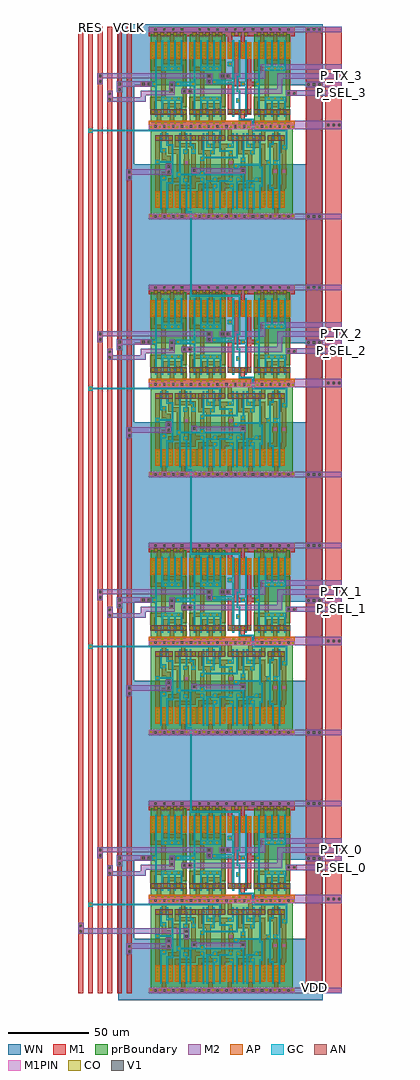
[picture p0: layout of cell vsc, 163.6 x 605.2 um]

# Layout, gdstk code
import gdstk
lib = gdstk.Library(unit=1e-6, precision=1e-07)
def R(c, l, rs):  # rectangles x0, y0, x1, y1
    for r in rs: c.add(gdstk.rectangle(r[:2], r[2:], *l))
def A(c, l, x, y, w, h, nx, ny, dx, dy):  # array of equal rectangles
    R(c, l, [(x+i*dx, y+j*dy, x+i*dx+w, y+j*dy+h) for i in range(nx) for j in range(ny)])
def P(c, l, *ps):  # polygons
    for p in ps: c.add(gdstk.Polygon(p, *l))
AP = (3, 1)
AN = (3, 2)
GC = (8, 1)
CO = (11, 0)
M1 = (13, 0)
V1 = (19, 0)
M2 = (20, 0)
M1PIN = (48, 1)
WN = (140, 0)
prBoundary = (235, 0)

dffr = lib.new_cell('DFFR')
A(dffr, AP, -1.3, -1.3, 2.6, 2.6, 17, 1, 5.5, 0)
R(dffr, AP, [(2.8,39.7,13.4,49.9), (2.8,39.7,13.4,49.9), (14.8,39.7,27.8,49.9), (14.8,39.7,27.8,49.9), (29.2,39.7,46.2,49.9), (29.2,39.7,46.2,49.9), (47.6,39.7,71,49.9), (47.6,39.7,71,49.9), (72.4,39.7,83,49.9), (72.4,39.7,83,49.9)])
A(dffr, AN, -1.3, 53.7, 2.6, 2.6, 17, 1, 5.5, 0)
R(dffr, AN, [(2.8,5.1,13.4,8.5), (14.8,5.1,27.8,8.5), (29.2,5.1,46.2,8.5), (47.6,5.1,71,8.5), (72.4,5.1,83,8.5)])
P(dffr, GC, [(34.4,3.9),(34.4,12.9),(37,12.9),(37,10.3),(35.4,10.3),(35.4,3.9)],
  [(50.4,3.9),(50.4,10.3),(47.6,10.3),(47.6,12.9),(51.4,12.9),(51.4,3.9)],
  [(59.2,3.9),(59.2,12.9),(61.8,12.9),(61.8,10.3),(60.2,10.3),(60.2,3.9)],
  [(5.6,3.9),(5.6,15.7),(9.4,15.7),(9.4,13.1),(6.6,13.1),(6.6,3.9)],
  [(21.6,3.9),(21.6,13.9),(20,13.9),(20,16.5),(22.6,16.5),(22.6,3.9)],
  [(24,3.9),(24,11.7),(25.9,11.7),(25.9,13.9),(25.1,13.9),(25.1,16.5),(27.7,16.5),(27.7,13.9),(26.9,13.9),(26.9,10.7),(25,10.7),(25,3.9)],
  [(38.4,3.9),(38.4,14.3),(36.8,14.3),(36.8,16.9),(39.4,16.9),(39.4,3.9)],
  [(42.4,3.9),(42.4,15.3),(48.2,15.3),(48.2,16.9),(50.8,16.9),(50.8,14.3),(43.4,14.3),(43.4,3.9)],
  [(63.2,3.9),(63.2,14.3),(61.6,14.3),(61.6,16.9),(64.2,16.9),(64.2,3.9)],
  [(32,3.9),(32,18.3),(30.4,18.3),(30.4,20.9),(33,20.9),(33,19.3),(53.8,19.3),(53.8,3.9),(52.8,3.9),(52.8,18.3),(33,18.3),(33,3.9)],
  [(56.8,3.9),(56.8,18.9),(55.8,18.9),(55.8,21.5),(58.4,21.5),(58.4,18.9),(57.8,18.9),(57.8,3.9)],
  [(5.6,30.3),(5.6,51.1),(6.6,51.1),(6.6,32.9),(9.4,32.9),(9.4,30.3)],
  [(9.6,3.9),(9.6,11.7),(12.9,11.7),(12.9,21.2),(5.4,21.2),(5.4,20.4),(2.8,20.4),(2.8,23),(5.4,23),(5.4,22.2),(12.9,22.2),(12.9,34.3),(9.6,34.3),(9.6,51.1),(10.6,51.1),(10.6,35.3),(13.9,35.3),(13.9,10.7),(10.6,10.7),(10.6,3.9)],
  [(20,31.7),(20,34.3),(21.6,34.3),(21.6,51.1),(22.6,51.1),(22.6,31.7)],
  [(30.4,31.3),(30.4,33.9),(32,33.9),(32,51.1),(33,51.1),(33,31.3)],
  [(38.4,31.3),(38.4,32.9),(34.4,32.9),(34.4,51.1),(35.4,51.1),(35.4,33.9),(41,33.9),(41,31.3)],
  [(38.4,35.3),(38.4,51.1),(39.4,51.1),(39.4,37.9),(41,37.9),(41,35.3)],
  [(48.2,31.3),(48.2,32.9),(42.4,32.9),(42.4,51.1),(43.4,51.1),(43.4,33.9),(50.8,33.9),(50.8,31.3)],
  [(48.8,35.3),(48.8,37.9),(50.4,37.9),(50.4,51.1),(51.4,51.1),(51.4,35.3)],
  [(52.8,31.3),(52.8,51.1),(53.8,51.1),(53.8,33.9),(55.4,33.9),(55.4,31.3)],
  [(17.6,3.9),(17.6,28.1),(16,28.1),(16,30.7),(17.6,30.7),(17.6,51.1),(18.6,51.1),(18.6,29.9),(24,29.9),(24,51.1),(25,51.1),(25,29.9),(56.8,29.9),(56.8,51.1),(57.8,51.1),(57.8,28.9),(33,28.9),(33,27.3),(30.4,27.3),(30.4,28.9),(18.6,28.9),(18.6,3.9)],
  [(64.2,31.3),(64.2,32.9),(59.2,32.9),(59.2,51.1),(60.2,51.1),(60.2,33.9),(66.8,33.9),(66.8,31.3)],
  [(61.6,35.3),(61.6,37.9),(63.2,37.9),(63.2,51.1),(64.2,51.1),(64.2,35.3)],
  [(67.2,3.9),(67.2,22.9),(51.4,22.9),(51.4,25.5),(54,25.5),(54,23.9),(67.2,23.9),(67.2,25.7),(68.4,25.7),(68.4,35.9),(67.2,35.9),(67.2,51.1),(68.2,51.1),(68.2,36.9),(69.4,36.9),(69.4,24.7),(68.2,24.7),(68.2,3.9)],
  [(75.2,3.9),(75.2,9.9),(73.3,9.9),(73.3,20.7),(71.7,20.7),(71.7,23.3),(73.3,23.3),(73.3,38.3),(75.2,38.3),(75.2,51.1),(76.2,51.1),(76.2,37.3),(74.3,37.3),(74.3,10.9),(76.2,10.9),(76.2,3.9)],
  [(79.2,3.9),(79.2,20.7),(75.7,20.7),(75.7,23.3),(79.2,23.3),(79.2,51.1),(80.2,51.1),(80.2,3.9)])
A(dffr, CO, -0.5, -0.5, 1, 1, 17, 2, 5.5, 55)
A(dffr, CO, 7.6, 6.3, 1, 1, 4, 2, 4, 35)
A(dffr, CO, 40.4, 6.3, 1, 1, 3, 1, 4, 0)
A(dffr, CO, 65.2, 6.3, 1, 1, 4, 1, 4, 0)
A(dffr, CO, 3.6, 41.3, 1, 1, 1, 4, 0, 2)
A(dffr, CO, 7.6, 41.3, 1, 1, 1, 4, 0, 2)
A(dffr, CO, 19.6, 41.3, 1, 1, 1, 4, 0, 2)
A(dffr, CO, 26, 41.3, 1, 1, 1, 4, 0, 2)
A(dffr, CO, 30, 41.3, 1, 1, 1, 4, 0, 2)
A(dffr, CO, 44.4, 41.3, 1, 1, 1, 4, 0, 2)
A(dffr, CO, 48.4, 41.3, 1, 1, 1, 4, 0, 2)
A(dffr, CO, 69.2, 41.3, 1, 1, 3, 4, 4, 2)
A(dffr, CO, 77.2, 41.3, 1, 1, 1, 4, 0, 2)
A(dffr, CO, 81.2, 41.3, 1, 1, 1, 4, 0, 2)
A(dffr, CO, 7.6, 43.3, 1, 1, 4, 3, 4, 2)
R(dffr, CO, [(3.6,6.3,4.6,7.3), (7.6,6.3,8.6,7.3), (19.6,6.3,20.6,7.3), (26,6.3,27,7.3), (30,6.3,31,7.3), (36.4,6.3,37.4,7.3), (36.4,6.3,37.4,7.3), (40.4,6.3,41.4,7.3), (54.8,6.3,55.8,7.3), (54.8,6.3,55.8,7.3), (61.2,6.3,62.2,7.3), (61.2,6.3,62.2,7.3), (65.2,6.3,66.2,7.3), (77.2,6.3,78.2,7.3), (81.2,6.3,82.2,7.3), (35.2,11.1,36.2,12.1), (48.4,11.1,49.4,12.1), (60,11.1,61,12.1), (7.6,13.9,8.6,14.9), (20.8,14.7,21.8,15.7), (25.9,14.7,26.9,15.7), (37.6,15.1,38.6,16.1), (49,15.1,50,16.1), (62.4,15.1,63.4,16.1), (31.2,19.1,32.2,20.1), (56.6,19.7,57.6,20.7), (3.6,21.2,4.6,22.2), (72.5,21.5,73.5,22.5), (76.5,21.5,77.5,22.5), (52.2,23.7,53.2,24.7), (31.2,28.1,32.2,29.1), (16.8,28.9,17.8,29.9), (7.6,31.1,8.6,32.1), (31.2,32.1,32.2,33.1), (39.2,32.1,40.2,33.1), (49,32.1,50,33.1), (53.6,32.1,54.6,33.1), (65,32.1,66,33.1), (20.8,32.5,21.8,33.5), (39.2,36.1,40.2,37.1), (49.6,36.1,50.6,37.1), (62.4,36.1,63.4,37.1), (36.4,41.3,37.4,42.3), (36.4,41.3,37.4,42.3), (54.8,41.3,55.8,42.3), (54.8,41.3,55.8,42.3), (61.2,41.3,62.2,42.3), (61.2,41.3,62.2,42.3), (36.4,43.3,37.4,44.3), (36.4,43.3,37.4,44.3), (54.8,43.3,55.8,44.3), (54.8,43.3,55.8,44.3), (61.2,43.3,62.2,44.3), (61.2,43.3,62.2,44.3), (36.4,45.3,37.4,46.3), (36.4,45.3,37.4,46.3), (54.8,45.3,55.8,46.3), (54.8,45.3,55.8,46.3), (61.2,45.3,62.2,46.3), (61.2,45.3,62.2,46.3), (36.4,47.3,37.4,48.3), (36.4,47.3,37.4,48.3), (54.8,47.3,55.8,48.3), (54.8,47.3,55.8,48.3), (61.2,47.3,62.2,48.3), (61.2,47.3,62.2,48.3)])
R(dffr, M1, [(2.8,5.1,5.4,49.9), (30.4,18.3,33,29.9)])
P(dffr, M1, [(6.8,13.1),(6.8,20.5),(9.7,20.5),(9.7,25.8),(9.3,25.8),(9.3,27.7),(6.8,27.7),(6.8,32.9),(9.4,32.9),(9.4,30.3),(12.3,30.3),(12.3,29.2),(12.7,29.2),(12.7,25.8),(12.3,25.8),(12.3,17.9),(9.4,17.9),(9.4,13.1)],
  [(10.8,5.1),(10.8,16.5),(16,16.5),(16,31.7),(10.8,31.7),(10.8,49.9),(13.4,49.9),(13.4,34.3),(18.6,34.3),(18.6,13.9),(13.4,13.9),(13.4,5.1)],
  [(39.6,5.1),(39.6,10.3),(34.4,10.3),(34.4,12.9),(43.6,12.9),(43.6,31.3),(38.4,31.3),(38.4,33.9),(43.6,33.9),(43.6,49.9),(46.2,49.9),(46.2,37.9),(51.4,37.9),(51.4,35.3),(46.2,35.3),(46.2,12.9),(50.2,12.9),(50.2,10.3),(42.2,10.3),(42.2,5.1)],
  [(64.4,5.1),(64.4,10.3),(59.2,10.3),(59.2,12.9),(68.4,12.9),(68.4,31.3),(64.2,31.3),(64.2,33.9),(68.4,33.9),(68.4,49.9),(71,49.9),(71,23.3),(74.3,23.3),(74.3,20.7),(71,20.7),(71,10.3),(67,10.3),(67,5.1)],
  [(80.4,5.1),(80.4,16.4),(81.2,16.4),(81.2,25.8),(80.8,25.8),(80.8,29.2),(81.2,29.2),(81.2,35.7),(80.4,35.7),(80.4,49.9),(83,49.9),(83,38.3),(83.8,38.3),(83.8,29.2),(84.2,29.2),(84.2,25.8),(83.8,25.8),(83.8,13.8),(83,13.8),(83,5.1)],
  [(25.2,5.1),(25.2,8.5),(29.2,8.5),(29.2,16.9),(34.4,16.9),(34.4,35.3),(29.2,35.3),(29.2,39.7),(25.2,39.7),(25.2,49.9),(31.8,49.9),(31.8,37.9),(41,37.9),(41,35.3),(37,35.3),(37,16.9),(39.4,16.9),(39.4,14.3),(31.8,14.3),(31.8,5.1)],
  [(-1.3,-1.3),(-1.3,1.3),(6.8,1.3),(6.8,8.5),(9.4,8.5),(9.4,1.3),(18.8,1.3),(18.8,8.5),(21.4,8.5),(21.4,1.3),(35.6,1.3),(35.6,8.5),(38.2,8.5),(38.2,1.3),(43.6,1.3),(43.6,8.5),(46.2,8.5),(46.2,1.3),(47.6,1.3),(47.6,8.5),(50.2,8.5),(50.2,1.3),(60.4,1.3),(60.4,8.5),(63,8.5),(63,1.3),(68.4,1.3),(68.4,8.5),(71,8.5),(71,1.3),(76.4,1.3),(76.4,8.5),(79,8.5),(79,1.3),(89.3,1.3),(89.3,-1.3)],
  [(48.2,14.3),(48.2,20.3),(47.8,20.3),(47.8,23.7),(48.2,23.7),(48.2,33.9),(50.8,33.9),(50.8,25.5),(54,25.5),(54,22.9),(51.2,22.9),(51.2,20.3),(50.8,20.3),(50.8,14.3)],
  [(55.8,18.9),(55.8,25.3),(55.4,25.3),(55.4,28.7),(55.8,28.7),(55.8,31.3),(52.8,31.3),(52.8,33.9),(58.4,33.9),(58.4,28.7),(58.8,28.7),(58.8,25.3),(58.4,25.3),(58.4,18.9)],
  [(20,13.9),(20,16.5),(20.7,16.5),(20.7,20.3),(20.3,20.3),(20.3,23.7),(20.7,23.7),(20.7,31.7),(20,31.7),(20,34.3),(23.3,34.3),(23.3,23.7),(23.7,23.7),(23.7,20.3),(23.3,20.3),(23.3,13.9)],
  [(14.8,5.1),(14.8,12.5),(25.1,12.5),(25.1,35.7),(14.8,35.7),(14.8,49.9),(17.4,49.9),(17.4,38.3),(27.7,38.3),(27.7,33.9),(33,33.9),(33,31.3),(27.7,31.3),(27.7,28.7),(28.5,28.7),(28.5,25.3),(27.7,25.3),(27.7,9.9),(17.4,9.9),(17.4,5.1)],
  [(54,5.1),(54,16.9),(60.2,16.9),(60.2,35.3),(54,35.3),(54,49.9),(56.6,49.9),(56.6,37.9),(64.2,37.9),(64.2,35.3),(62.8,35.3),(62.8,16.9),(64.2,16.9),(64.2,14.3),(56.6,14.3),(56.6,5.1)],
  [(72.4,5.1),(72.4,12.5),(75.7,12.5),(75.7,25.8),(75.3,25.8),(75.3,29.2),(75.7,29.2),(75.7,35.7),(72.4,35.7),(72.4,49.9),(75,49.9),(75,38.3),(78.3,38.3),(78.3,29.2),(78.7,29.2),(78.7,25.8),(78.3,25.8),(78.3,9.9),(75,9.9),(75,5.1)],
  [(6.8,39.7),(6.8,53.7),(-1.3,53.7),(-1.3,56.3),(89.3,56.3),(89.3,53.7),(79,53.7),(79,39.7),(76.4,39.7),(76.4,53.7),(63,53.7),(63,39.7),(60.4,39.7),(60.4,53.7),(50.2,53.7),(50.2,39.7),(47.6,39.7),(47.6,53.7),(38.2,53.7),(38.2,39.7),(35.6,39.7),(35.6,53.7),(21.4,53.7),(21.4,39.7),(18.8,39.7),(18.8,53.7),(9.4,53.7),(9.4,39.7)])
R(dffr, V1, [(26.1,26.3,27.5,27.7), (56.4,26.3,57.8,27.7)])
P(dffr, M2, [(25.1,25.3),(25.1,29.1),(58.8,29.1),(58.8,25.3),(55.4,25.3),(55.4,25.7),(28.5,25.7),(28.5,25.3)])
R(dffr, M1PIN, [(-1.3,-1.3,89.3,1.3), (21.1,21.1,22.9,22.9), (48.6,21.1,50.4,22.9), (10.1,26.6,11.9,28.4), (76.1,26.6,77.9,28.4), (81.6,26.6,83.4,28.4), (-1.3,53.7,89.3,56.3)])
R(dffr, WN, [(-6.3,23.2,94.3,61.3)])
R(dffr, prBoundary, [(0,0,88,55), (0,0,88,55)])
dffr.add(gdstk.Label('D', (22,22), layer=48, texttype=0))
dffr.add(gdstk.Label('RST', (49.5,22), layer=48, texttype=0))
dffr.add(gdstk.Label('QB', (77,27.5), layer=48, texttype=0))
dffr.add(gdstk.Label('Q', (82.5,27.5), layer=48, texttype=0))
dffr.add(gdstk.Label('gnd', (0,0), layer=48, texttype=0))
dffr.add(gdstk.Label('CK', (11,27.5), layer=48, texttype=0))
dffr.add(gdstk.Label('vdd', (0,55), layer=48, texttype=0))

fet_n_1 = lib.new_cell('fet_n$1')
R(fet_n_1, AN, [(-11.3,-1.7,11.3,1.7)])
A(fet_n_1, CO, -10.5, -0.5, 1, 1, 6, 1, 4, 0)
A(fet_n_1, M1, -11.3, -1.3, 2.6, 2.6, 6, 1, 4, 0)
fet_n_1.add(gdstk.FlexPath([(0,-2.9),(0,2.9)], 1, ends="flush", simple_path=True, layer=8, datatype=1))  # GC
fet_n_1.add(gdstk.FlexPath([(-4,-2.9),(-4,2.9)], 1, ends="flush", simple_path=True, layer=8, datatype=1))  # GC
fet_n_1.add(gdstk.FlexPath([(4,-2.9),(4,2.9)], 1, ends="flush", simple_path=True, layer=8, datatype=1))  # GC
fet_n_1.add(gdstk.FlexPath([(-8,-2.9),(-8,2.9)], 1, ends="flush", simple_path=True, layer=8, datatype=1))  # GC
fet_n_1.add(gdstk.FlexPath([(8,-2.9),(8,2.9)], 1, ends="flush", simple_path=True, layer=8, datatype=1))  # GC

fet_p = lib.new_cell('fet_p')
R(fet_p, AP, [(-11.3,-5.1,11.3,5.1)])
A(fet_p, CO, -10.5, -3.5, 1, 1, 6, 4, 4, 2)
A(fet_p, M1, -11.3, -4.3, 2.6, 8.6, 6, 1, 4, 0)
fet_p.add(gdstk.FlexPath([(0,-6.3),(0,6.3)], 1, ends="flush", simple_path=True, layer=8, datatype=1))  # GC
fet_p.add(gdstk.FlexPath([(-4,-6.3),(-4,6.3)], 1, ends="flush", simple_path=True, layer=8, datatype=1))  # GC
fet_p.add(gdstk.FlexPath([(4,-6.3),(4,6.3)], 1, ends="flush", simple_path=True, layer=8, datatype=1))  # GC
fet_p.add(gdstk.FlexPath([(-8,-6.3),(-8,6.3)], 1, ends="flush", simple_path=True, layer=8, datatype=1))  # GC
fet_p.add(gdstk.FlexPath([(8,-6.3),(8,6.3)], 1, ends="flush", simple_path=True, layer=8, datatype=1))  # GC

cont_g = lib.new_cell('cont_g')
R(cont_g, GC, [(-1.3,-1.3,1.3,1.3)])
R(cont_g, CO, [(-0.5,-0.5,0.5,0.5)])
R(cont_g, M1, [(-1.3,-1.3,1.3,1.3)])

cont_p = lib.new_cell('cont_p')
R(cont_p, AP, [(-1.3,-1.3,1.3,1.3)])
R(cont_p, CO, [(-0.5,-0.5,0.5,0.5)])
R(cont_p, M1, [(-1.3,-1.3,1.3,1.3)])

cont_n_1 = lib.new_cell('cont_n$1')
R(cont_n_1, AN, [(-1.3,-1.3,1.3,1.3)])
R(cont_n_1, CO, [(-0.5,-0.5,0.5,0.5)])
R(cont_n_1, M1, [(-1.3,-1.3,1.3,1.3)])

vsc_bufx1x4 = lib.new_cell('vsc_bufx1x4')
R(vsc_bufx1x4, GC, [(2.5,9.7,3.5,38.5)])
P(vsc_bufx1x4, GC, [(6.5,9.7),(6.5,16.3),(19.5,16.3),(19.5,9.7),(18.5,9.7),(18.5,13.7),(15.5,13.7),(15.5,9.7),(14.5,9.7),(14.5,13.7),(11.5,13.7),(11.5,9.7),(10.5,9.7),(10.5,13.7),(7.5,13.7),(7.5,9.7)],
  [(6.5,32.3),(6.5,38.5),(7.5,38.5),(7.5,34.9),(10.5,34.9),(10.5,38.5),(11.5,38.5),(11.5,34.9),(14.5,34.9),(14.5,38.5),(15.5,38.5),(15.5,34.9),(18.5,34.9),(18.5,38.5),(19.5,38.5),(19.5,32.3)])
A(vsc_bufx1x4, M1, 3.7, 1.3, 2.6, 4.2, 3, 1, 8, 0)
A(vsc_bufx1x4, M1, 3.7, 49.1, 2.6, 4.6, 3, 1, 8, 0)
R(vsc_bufx1x4, M1, [(-1.3,-1.3,23.3,1.3), (-1.3,53.7,23.3,56.3)])
P(vsc_bufx1x4, M1, [(7.7,8.1),(7.7,12.2),(19.7,12.2),(19.7,36.4),(7.7,36.4),(7.7,40.5),(10.3,40.5),(10.3,39),(15.7,39),(15.7,40.5),(18.3,40.5),(18.3,39),(22.3,39),(22.3,9.6),(18.3,9.6),(18.3,8.1),(15.7,8.1),(15.7,9.6),(10.3,9.6),(10.3,8.1)],
  [(-0.3,8.1),(-0.3,16.3),(6.5,16.3),(6.5,32.3),(-0.3,32.3),(-0.3,40.5),(2.3,40.5),(2.3,34.9),(18.3,34.9),(18.3,32.3),(9.1,32.3),(9.1,16.3),(18.3,16.3),(18.3,13.7),(2.3,13.7),(2.3,8.1)])
R(vsc_bufx1x4, WN, [(-7.5,23.2,29.3,61.3)])
R(vsc_bufx1x4, prBoundary, [(0,0,22,55)])
vsc_bufx1x4.add(gdstk.Reference(fet_n_1, (11,6.8)))
vsc_bufx1x4.add(gdstk.Reference(fet_p, (11,44.8)))
vsc_bufx1x4.add(gdstk.Reference(cont_g, (2.2,24.1)))
r = gdstk.Reference(cont_g, (9,33.6)); r.repetition = gdstk.Repetition(3, 1, v1=(4,0), v2=(0,0)); vsc_bufx1x4.add(r)
r = gdstk.Reference(cont_g, (9,15)); r.repetition = gdstk.Repetition(3, 1, v1=(4,0), v2=(0,0)); vsc_bufx1x4.add(r)
r = gdstk.Reference(cont_p, (3,0)); r.repetition = gdstk.Repetition(5, 1, v1=(4,0), v2=(0,0)); vsc_bufx1x4.add(r)
r = gdstk.Reference(cont_n_1, (3,55)); r.repetition = gdstk.Repetition(5, 1, v1=(4,0), v2=(0,0)); vsc_bufx1x4.add(r)
vsc_bufx1x4.add(gdstk.Label('IN', (2.2,24.1), layer=48, texttype=0))
vsc_bufx1x4.add(gdstk.Label('OUT', (21,24.1), layer=48, texttype=0))
vsc_bufx1x4.add(gdstk.Label('VSS', (0,0), layer=48, texttype=0))
vsc_bufx1x4.add(gdstk.Label('VDD', (0,55), layer=48, texttype=0))

cont_g_3 = lib.new_cell('cont_g$3')
R(cont_g_3, GC, [(-1.3,-1.3,1.3,1.3)])
R(cont_g_3, CO, [(-0.5,-0.5,0.5,0.5)])
R(cont_g_3, M1, [(-1.3,-1.3,1.3,1.3)])

fet_n_1_1 = lib.new_cell('fet_n$1$1')
R(fet_n_1_1, AN, [(-7.3,-1.7,7.3,1.7)])
A(fet_n_1_1, CO, -6.5, -0.5, 1, 1, 4, 1, 4, 0)
A(fet_n_1_1, M1, -7.3, -1.3, 2.6, 2.6, 4, 1, 4, 0)
fet_n_1_1.add(gdstk.FlexPath([(0,-2.9),(0,2.9)], 1, ends="flush", simple_path=True, layer=8, datatype=1))  # GC
fet_n_1_1.add(gdstk.FlexPath([(-4,-2.9),(-4,2.9)], 1, ends="flush", simple_path=True, layer=8, datatype=1))  # GC
fet_n_1_1.add(gdstk.FlexPath([(4,-2.9),(4,2.9)], 1, ends="flush", simple_path=True, layer=8, datatype=1))  # GC

fet_p_1 = lib.new_cell('fet_p$1')
R(fet_p_1, AP, [(-7.3,-5.1,7.3,5.1)])
A(fet_p_1, CO, -6.5, -3.5, 1, 1, 4, 4, 4, 2)
A(fet_p_1, M1, -7.3, -4.3, 2.6, 8.6, 4, 1, 4, 0)
fet_p_1.add(gdstk.FlexPath([(0,-6.3),(0,6.3)], 1, ends="flush", simple_path=True, layer=8, datatype=1))  # GC
fet_p_1.add(gdstk.FlexPath([(-4,-6.3),(-4,6.3)], 1, ends="flush", simple_path=True, layer=8, datatype=1))  # GC
fet_p_1.add(gdstk.FlexPath([(4,-6.3),(4,6.3)], 1, ends="flush", simple_path=True, layer=8, datatype=1))  # GC

cont_p_1 = lib.new_cell('cont_p$1')
R(cont_p_1, AP, [(-1.3,-1.3,1.3,1.3)])
R(cont_p_1, CO, [(-0.5,-0.5,0.5,0.5)])
R(cont_p_1, M1, [(-1.3,-1.3,1.3,1.3)])

cont_n_2 = lib.new_cell('cont_n$2')
R(cont_n_2, AN, [(-1.3,-1.3,1.3,1.3)])
R(cont_n_2, CO, [(-0.5,-0.5,0.5,0.5)])
R(cont_n_2, M1, [(-1.3,-1.3,1.3,1.3)])

vsc_and2 = lib.new_cell('vsc_and2')
P(vsc_and2, GC, [(4.5,9.7),(4.5,35.2),(4.3,35.2),(4.3,37.8),(4.5,37.8),(4.5,38.5),(5.5,38.5),(5.5,9.7)],
  [(8.5,9.7),(8.5,19.2),(7.1,19.2),(7.1,29.2),(8.5,29.2),(8.5,38.5),(9.5,38.5),(9.5,28.2),(8.1,28.2),(8.1,20.2),(9.5,20.2),(9.5,9.7)],
  [(12.5,9.7),(12.5,22.8),(12.3,22.8),(12.3,25.4),(12.5,25.4),(12.5,38.5),(13.5,38.5),(13.5,9.7)])
R(vsc_and2, M1, [(-1.3,-1.3,17.8,1.3), (9.7,1.3,12.3,5.5), (13.7,8.1,16.3,40.5), (1.7,49.1,4.3,53.7), (9.7,49.1,12.3,53.7), (-1.3,53.7,17.8,56.3)])
P(vsc_and2, M1, [(1.7,8.1),(1.7,25.4),(5.7,25.4),(5.7,40.5),(8.3,40.5),(8.3,25.4),(9.7,25.4),(9.7,22.8),(4.3,22.8),(4.3,8.1)])
R(vsc_and2, WN, [(-5.6,23.2,23.5,61.3)])
vsc_and2.add(gdstk.Reference(cont_g_3, (3,36.5)))
vsc_and2.add(gdstk.Reference(fet_n_1_1, (9,6.8)))
vsc_and2.add(gdstk.Reference(fet_p_1, (9,44.8)))
vsc_and2.add(gdstk.Reference(cont_g_3, (11,24.1)))
vsc_and2.add(gdstk.Reference(cont_g_3, (8.2,13.9)))
r = gdstk.Reference(cont_p_1, (5,0)); r.repetition = gdstk.Repetition(3, 1, v1=(4,0), v2=(0,0)); vsc_and2.add(r)
r = gdstk.Reference(cont_n_2, (5,55)); r.repetition = gdstk.Repetition(3, 1, v1=(4,0), v2=(0,0)); vsc_and2.add(r)
vsc_and2.add(gdstk.Label('B', (8.2,13.9), layer=48, texttype=0))
vsc_and2.add(gdstk.Label('A', (3,36.5), layer=48, texttype=0))
vsc_and2.add(gdstk.Label('Y', (15,24.1), layer=48, texttype=0))
vsc_and2.add(gdstk.Label('VSS', (0,0), layer=48, texttype=0))
vsc_and2.add(gdstk.Label('VDD', (0,55), layer=48, texttype=0))

cont_g_2 = lib.new_cell('cont_g$2')
R(cont_g_2, GC, [(-1.3,-1.3,1.3,1.3)])
R(cont_g_2, CO, [(-0.5,-0.5,0.5,0.5)])
R(cont_g_2, M1, [(-1.3,-1.3,1.3,1.3)])

via_1 = lib.new_cell('via_1')
R(via_1, M1, [(-1.7,-1.7,1.7,1.7)])
R(via_1, V1, [(-0.7,-0.7,0.7,0.7)])
R(via_1, M2, [(-1.7,-1.7,1.7,1.7)])

vsc = lib.new_cell('vsc')
A(vsc, AP, -119.7, -203.9, 63.1, 5.2, 1, 4, 0, 160)
A(vsc, AP, -53.7, -203.9, 24.6, 5.2, 1, 4, 0, 160)
A(vsc, GC, -100.4, -177.2, 6.9, 2.6, 1, 4, 0, 160)
A(vsc, GC, -77.6, -176, 9.7, 2.6, 1, 4, 0, 160)
P(vsc, GC, [(-34.9,-216.4),(-34.9,-205.3),(-55.7,-205.3),(-55.7,-198.3),(-63.9,-198.3),(-63.9,-196.1),(-62.9,-196.1),(-62.9,-197.3),(-54.7,-197.3),(-54.7,-204.3),(-33.9,-204.3),(-33.9,-216.4)],
  [(-34.9,-56.4),(-34.9,-45.3),(-55.7,-45.3),(-55.7,-38.3),(-63.9,-38.3),(-63.9,-36.1),(-62.9,-36.1),(-62.9,-37.3),(-54.7,-37.3),(-54.7,-44.3),(-33.9,-44.3),(-33.9,-56.4)],
  [(-34.9,103.6),(-34.9,114.7),(-55.7,114.7),(-55.7,121.7),(-63.9,121.7),(-63.9,123.9),(-62.9,123.9),(-62.9,122.7),(-54.7,122.7),(-54.7,115.7),(-33.9,115.7),(-33.9,103.6)],
  [(-34.9,263.6),(-34.9,274.7),(-55.7,274.7),(-55.7,281.7),(-63.9,281.7),(-63.9,283.9),(-62.9,283.9),(-62.9,282.7),(-54.7,282.7),(-54.7,275.7),(-33.9,275.7),(-33.9,263.6)],
  [(-63.9,-148.9),(-63.9,-147.7),(-94.2,-147.7),(-94.2,-95.9),(-96.8,-95.9),(-96.8,-93.7),(-95.8,-93.7),(-95.8,-94.9),(-93.2,-94.9),(-93.2,-146.7),(-62.9,-146.7),(-62.9,-148.9)],
  [(-63.9,11.1),(-63.9,12.3),(-94.2,12.3),(-94.2,64.1),(-96.8,64.1),(-96.8,66.3),(-95.8,66.3),(-95.8,65.1),(-93.2,65.1),(-93.2,13.3),(-62.9,13.3),(-62.9,11.1)],
  [(-63.9,171.1),(-63.9,172.3),(-94.2,172.3),(-94.2,224.1),(-96.8,224.1),(-96.8,226.3),(-95.8,226.3),(-95.8,225.1),(-93.2,225.1),(-93.2,173.3),(-62.9,173.3),(-62.9,171.1)],
  [(-76,-206.5),(-76,-205.3),(-157.2,-205.3),(-157.2,-204.3),(-75,-204.3),(-75,-206.5)],
  [(-76,-46.5),(-76,-45.3),(-157.2,-45.3),(-157.2,-44.3),(-75,-44.3),(-75,-46.5)],
  [(-76,113.5),(-76,114.7),(-157.2,114.7),(-157.2,115.7),(-75,115.7),(-75,113.5)],
  [(-76,273.5),(-76,274.7),(-157.2,274.7),(-157.2,275.7),(-75,275.7),(-75,273.5)])
A(vsc, M1, -163.4, -259.7, 3, 599.4, 6, 1, 6, 0)
A(vsc, M1, -119.7, -259.7, 90.6, 3.4, 1, 4, 0, 160)
A(vsc, M1, -119.7, -203.9, 90.6, 5.2, 1, 4, 0, 160)
A(vsc, M1, -117.9, -177.6, 3, 3.4, 1, 4, 0, 160)
A(vsc, M1, -103.8, -177.2, 0.8, 2.6, 1, 4, 0, 160)
A(vsc, M1, -56.1, -177.2, 2.6, 2.6, 1, 4, 0, 160)
A(vsc, M1, -80.5, -176, 0.3, 2.6, 1, 4, 0, 160)
A(vsc, M1, -119.7, -146.3, 90.6, 6, 1, 4, 0, 160)
R(vsc, M1, [(-22.4,-259.7,-12.2,339.7), (-10.2,-259.7,0,339.7), (-98.1,-219.5,-94.7,-216.5)])
A(vsc, M2, -130.2, -232.2, 21.1, 3.4, 1, 4, 0, 160)
A(vsc, M2, -119.7, -203.9, 119.7, 5.2, 1, 4, 0, 160)
A(vsc, M2, -27.9, -183.3, 27.9, 3.4, 1, 4, 0, 160)
A(vsc, M2, -12.2, -177.9, 12.2, 3.4, 1, 4, 0, 160)
A(vsc, M2, -136.2, -177.6, 11.5, 3.4, 1, 4, 0, 160)
A(vsc, M2, -148.2, -172.2, 67.2, 3, 1, 4, 0, 160)
R(vsc, M2, [(-119.7,-259.7,0,-256.3), (-163.4,-222.9,-98.1,-219.5), (-119.7,-143.7,0,-140.3), (-119.7,-99.7,0,-96.3), (-119.7,16.3,0,19.7), (-119.7,60.3,0,63.7), (-119.7,176.3,0,179.7), (-119.7,220.3,0,223.7), (-119.7,336.3,0,339.7)])
P(vsc, M2, [(-92.7,-182.1),(-92.7,-178.7),(-40,-178.7),(-40,-169.1),(0,-169.1),(0,-172.5),(-37,-172.5),(-37,-182.1)],
  [(-68.9,-172.6),(-68.9,-169.2),(-50.4,-169.2),(-50.4,-163.7),(0,-163.7),(0,-167.1),(-47.4,-167.1),(-47.4,-172.6)],
  [(-92.7,-22.1),(-92.7,-18.7),(-40,-18.7),(-40,-9.1),(0,-9.1),(0,-12.5),(-37,-12.5),(-37,-22.1)],
  [(-68.9,-12.6),(-68.9,-9.2),(-50.4,-9.2),(-50.4,-3.7),(0,-3.7),(0,-7.1),(-47.4,-7.1),(-47.4,-12.6)],
  [(-92.7,137.9),(-92.7,141.3),(-40,141.3),(-40,150.9),(0,150.9),(0,147.5),(-37,147.5),(-37,137.9)],
  [(-68.9,147.4),(-68.9,150.8),(-50.4,150.8),(-50.4,156.3),(0,156.3),(0,152.9),(-47.4,152.9),(-47.4,147.4)],
  [(-92.7,297.9),(-92.7,301.3),(-40,301.3),(-40,310.9),(0,310.9),(0,307.5),(-37,307.5),(-37,297.9)],
  [(-68.9,307.4),(-68.9,310.8),(-50.4,310.8),(-50.4,316.3),(0,316.3),(0,312.9),(-47.4,312.9),(-47.4,307.4)],
  [(-142.2,-187),(-142.2,-184),(-124.7,-184),(-124.7,-180),(-103.8,-180),(-103.8,-183),(-121.7,-183),(-121.7,-187)],
  [(-142.2,-27),(-142.2,-24),(-124.7,-24),(-124.7,-20),(-103.8,-20),(-103.8,-23),(-121.7,-23),(-121.7,-27)],
  [(-142.2,133),(-142.2,136),(-124.7,136),(-124.7,140),(-103.8,140),(-103.8,137),(-121.7,137),(-121.7,133)],
  [(-142.2,293),(-142.2,296),(-124.7,296),(-124.7,300),(-103.8,300),(-103.8,297),(-121.7,297),(-121.7,293)])
P(vsc, WN, [(-138.8,-263.9),(-138.8,21.3),(-125.9,21.3),(-125.9,-16.8),(-128.7,-16.8),(-128.7,-65.8),(-124.7,-65.8),(-124.7,-103.9),(-24.1,-103.9),(-24.1,-65.8),(-22.1,-65.8),(-22.1,-16.8),(-25.1,-16.8),(-25.1,21.3),(-138.8,21.3),(-138.8,181.3),(-125.9,181.3),(-125.9,143.2),(-128.7,143.2),(-128.7,94.2),(-124.7,94.2),(-124.7,56.1),(-24.1,56.1),(-24.1,94.2),(-22.1,94.2),(-22.1,143.2),(-25.1,143.2),(-25.1,181.3),(-138.8,181.3),(-138.8,341.3),(-125.9,341.3),(-125.9,303.2),(-128.7,303.2),(-128.7,254.2),(-124.7,254.2),(-124.7,216.1),(-24.1,216.1),(-24.1,254.2),(-22.1,254.2),(-22.1,303.2),(-25.1,303.2),(-25.1,341.3),(-12,341.3),(-12,-263.9),(-24.1,-263.9),(-24.1,-225.8),(-22.1,-225.8),(-22.1,-176.8),(-25.1,-176.8),(-25.1,-138.7),(-125.9,-138.7),(-125.9,-176.8),(-128.7,-176.8),(-128.7,-225.8),(-124.7,-225.8),(-124.7,-263.9)])
r = gdstk.Reference(dffr, (-118.4,277.4), x_reflection=True); r.repetition = gdstk.Repetition(1, 4, v1=(0,0), v2=(0,-160)); vsc.add(r)
r = gdstk.Reference(vsc_bufx1x4, (-118.4,-200)); r.repetition = gdstk.Repetition(2, 4, v1=(24,0), v2=(0,160)); vsc.add(r)
r = gdstk.Reference(vsc_and2, (-72.4,-200)); r.repetition = gdstk.Repetition(1, 4, v1=(0,0), v2=(0,160)); vsc.add(r)
r = gdstk.Reference(vsc_bufx1x4, (-54.4,-200)); r.repetition = gdstk.Repetition(1, 4, v1=(0,0), v2=(0,160)); vsc.add(r)
vsc.add(gdstk.Reference(cont_g_2, (-35.7,-215.1)))
r = gdstk.Reference(via_1, (-107.4,-230.5)); r.repetition = gdstk.Repetition(1, 2, v1=(0,0), v2=(0,3.4)); vsc.add(r)
r = gdstk.Reference(via_1, (-131.9,-233.9)); r.repetition = gdstk.Repetition(1, 2, v1=(0,0), v2=(0,3.4)); vsc.add(r)
r = gdstk.Reference(via_1, (-96.4,-224.6)); r.repetition = gdstk.Repetition(1, 2, v1=(0,0), v2=(0,3.4)); vsc.add(r)
r = gdstk.Reference(via_1, (-137.9,-179.3)); r.repetition = gdstk.Repetition(1, 2, v1=(0,0), v2=(0,3.4)); vsc.add(r)
r = gdstk.Reference(via_1, (-123,-175.9)); r.repetition = gdstk.Repetition(2, 1, v1=(3.4,0), v2=(0,0)); vsc.add(r)
vsc.add(gdstk.Reference(cont_g_2, (-101.7,-175.9)))
r = gdstk.Reference(via_1, (-143.9,-185.3)); r.repetition = gdstk.Repetition(1, 2, v1=(0,0), v2=(0,3.4)); vsc.add(r)
vsc.add(gdstk.Reference(cont_g_2, (-78.9,-174.7)))
r = gdstk.Reference(via_1, (-82.2,-174.3)); r.repetition = gdstk.Repetition(1, 2, v1=(0,0), v2=(0,3.4)); vsc.add(r)
r = gdstk.Reference(via_1, (-149.9,-174.3)); r.repetition = gdstk.Repetition(1, 2, v1=(0,0), v2=(0,3.4)); vsc.add(r)
r = gdstk.Reference(via_1, (-105.5,-179.7)); r.repetition = gdstk.Repetition(1, 2, v1=(0,0), v2=(0,3.4)); vsc.add(r)
r = gdstk.Reference(via_1, (-97.8,-180.4)); r.repetition = gdstk.Repetition(2, 1, v1=(3.4,0), v2=(0,0)); vsc.add(r)
r = gdstk.Reference(via_1, (-74,-170.9)); r.repetition = gdstk.Repetition(2, 1, v1=(3.4,0), v2=(0,0)); vsc.add(r)
r = gdstk.Reference(via_1, (-33,-181.6)); r.repetition = gdstk.Repetition(2, 1, v1=(3.4,0), v2=(0,0)); vsc.add(r)
vsc.add(gdstk.Reference(cont_g_2, (-35.7,-55.1)))
r = gdstk.Reference(via_1, (-107.4,-70.5)); r.repetition = gdstk.Repetition(1, 2, v1=(0,0), v2=(0,3.4)); vsc.add(r)
r = gdstk.Reference(via_1, (-131.9,-73.9)); r.repetition = gdstk.Repetition(1, 2, v1=(0,0), v2=(0,3.4)); vsc.add(r)
vsc.add(gdstk.Reference(cont_g_2, (-35.7,104.9)))
r = gdstk.Reference(via_1, (-137.9,-19.3)); r.repetition = gdstk.Repetition(1, 2, v1=(0,0), v2=(0,3.4)); vsc.add(r)
r = gdstk.Reference(via_1, (-123,-15.9)); r.repetition = gdstk.Repetition(2, 1, v1=(3.4,0), v2=(0,0)); vsc.add(r)
vsc.add(gdstk.Reference(cont_g_2, (-101.7,-15.9)))
r = gdstk.Reference(via_1, (-143.9,-25.3)); r.repetition = gdstk.Repetition(1, 2, v1=(0,0), v2=(0,3.4)); vsc.add(r)
vsc.add(gdstk.Reference(cont_g_2, (-78.9,-14.7)))
r = gdstk.Reference(via_1, (-82.2,-14.3)); r.repetition = gdstk.Repetition(1, 2, v1=(0,0), v2=(0,3.4)); vsc.add(r)
r = gdstk.Reference(via_1, (-149.9,-14.3)); r.repetition = gdstk.Repetition(1, 2, v1=(0,0), v2=(0,3.4)); vsc.add(r)
r = gdstk.Reference(via_1, (-105.5,-19.7)); r.repetition = gdstk.Repetition(1, 2, v1=(0,0), v2=(0,3.4)); vsc.add(r)
r = gdstk.Reference(via_1, (-97.8,-20.4)); r.repetition = gdstk.Repetition(2, 1, v1=(3.4,0), v2=(0,0)); vsc.add(r)
r = gdstk.Reference(via_1, (-74,-10.9)); r.repetition = gdstk.Repetition(2, 1, v1=(3.4,0), v2=(0,0)); vsc.add(r)
r = gdstk.Reference(via_1, (-33,-21.6)); r.repetition = gdstk.Repetition(2, 1, v1=(3.4,0), v2=(0,0)); vsc.add(r)
r = gdstk.Reference(via_1, (-107.4,89.5)); r.repetition = gdstk.Repetition(1, 2, v1=(0,0), v2=(0,3.4)); vsc.add(r)
r = gdstk.Reference(via_1, (-131.9,86.1)); r.repetition = gdstk.Repetition(1, 2, v1=(0,0), v2=(0,3.4)); vsc.add(r)
r = gdstk.Reference(via_1, (-137.9,140.7)); r.repetition = gdstk.Repetition(1, 2, v1=(0,0), v2=(0,3.4)); vsc.add(r)
r = gdstk.Reference(via_1, (-123,144.1)); r.repetition = gdstk.Repetition(2, 1, v1=(3.4,0), v2=(0,0)); vsc.add(r)
vsc.add(gdstk.Reference(cont_g_2, (-101.7,144.1)))
r = gdstk.Reference(via_1, (-143.9,134.7)); r.repetition = gdstk.Repetition(1, 2, v1=(0,0), v2=(0,3.4)); vsc.add(r)
vsc.add(gdstk.Reference(cont_g_2, (-78.9,145.3)))
r = gdstk.Reference(via_1, (-82.2,145.7)); r.repetition = gdstk.Repetition(1, 2, v1=(0,0), v2=(0,3.4)); vsc.add(r)
r = gdstk.Reference(via_1, (-149.9,145.7)); r.repetition = gdstk.Repetition(1, 2, v1=(0,0), v2=(0,3.4)); vsc.add(r)
r = gdstk.Reference(via_1, (-105.5,140.3)); r.repetition = gdstk.Repetition(1, 2, v1=(0,0), v2=(0,3.4)); vsc.add(r)
r = gdstk.Reference(via_1, (-97.8,139.6)); r.repetition = gdstk.Repetition(2, 1, v1=(3.4,0), v2=(0,0)); vsc.add(r)
r = gdstk.Reference(via_1, (-74,149.1)); r.repetition = gdstk.Repetition(2, 1, v1=(3.4,0), v2=(0,0)); vsc.add(r)
r = gdstk.Reference(via_1, (-33,138.4)); r.repetition = gdstk.Repetition(2, 1, v1=(3.4,0), v2=(0,0)); vsc.add(r)
vsc.add(gdstk.Reference(cont_g_2, (-35.7,264.9)))
r = gdstk.Reference(via_1, (-107.4,249.5)); r.repetition = gdstk.Repetition(1, 2, v1=(0,0), v2=(0,3.4)); vsc.add(r)
r = gdstk.Reference(via_1, (-131.9,246.1)); r.repetition = gdstk.Repetition(1, 2, v1=(0,0), v2=(0,3.4)); vsc.add(r)
r = gdstk.Reference(via_1, (-137.9,300.7)); r.repetition = gdstk.Repetition(1, 2, v1=(0,0), v2=(0,3.4)); vsc.add(r)
r = gdstk.Reference(via_1, (-123,304.1)); r.repetition = gdstk.Repetition(2, 1, v1=(3.4,0), v2=(0,0)); vsc.add(r)
vsc.add(gdstk.Reference(cont_g_2, (-101.7,304.1)))
r = gdstk.Reference(via_1, (-143.9,294.7)); r.repetition = gdstk.Repetition(1, 2, v1=(0,0), v2=(0,3.4)); vsc.add(r)
vsc.add(gdstk.Reference(cont_g_2, (-78.9,305.3)))
r = gdstk.Reference(via_1, (-82.2,305.7)); r.repetition = gdstk.Repetition(1, 2, v1=(0,0), v2=(0,3.4)); vsc.add(r)
r = gdstk.Reference(via_1, (-149.9,305.7)); r.repetition = gdstk.Repetition(1, 2, v1=(0,0), v2=(0,3.4)); vsc.add(r)
r = gdstk.Reference(via_1, (-105.5,300.3)); r.repetition = gdstk.Repetition(1, 2, v1=(0,0), v2=(0,3.4)); vsc.add(r)
r = gdstk.Reference(via_1, (-97.8,299.6)); r.repetition = gdstk.Repetition(2, 1, v1=(3.4,0), v2=(0,0)); vsc.add(r)
r = gdstk.Reference(via_1, (-74,309.1)); r.repetition = gdstk.Repetition(2, 1, v1=(3.4,0), v2=(0,0)); vsc.add(r)
r = gdstk.Reference(via_1, (-33,298.4)); r.repetition = gdstk.Repetition(2, 1, v1=(3.4,0), v2=(0,0)); vsc.add(r)
r = gdstk.Reference(via_1, (-115.6,-258)); r.repetition = gdstk.Repetition(4, 4, v1=(5.5,0), v2=(0,160)); vsc.add(r)
r = gdstk.Reference(via_1, (-20.7,-258)); r.repetition = gdstk.Repetition(3, 4, v1=(3.4,0), v2=(0,160)); vsc.add(r)
vsc.add(gdstk.Reference(cont_g_2, (-155.9,-204.8)))
r = gdstk.Reference(via_1, (-8.5,-201.3)); r.repetition = gdstk.Repetition(3, 4, v1=(3.4,0), v2=(0,160)); vsc.add(r)
r = gdstk.Reference(via_1, (-20.7,-142)); r.repetition = gdstk.Repetition(3, 4, v1=(3.4,0), v2=(0,160)); vsc.add(r)
r = gdstk.Reference(via_1, (-115.6,-202.2)); r.repetition = gdstk.Repetition(11, 4, v1=(5.5,0), v2=(0,160)); vsc.add(r)
r = gdstk.Reference(via_1, (-49.6,-202.2)); r.repetition = gdstk.Repetition(4, 4, v1=(5.5,0), v2=(0,160)); vsc.add(r)
r = gdstk.Reference(via_1, (-115.6,-142)); r.repetition = gdstk.Repetition(4, 4, v1=(5.5,0), v2=(0,160)); vsc.add(r)
r = gdstk.Reference(via_1, (-88.1,-142)); r.repetition = gdstk.Repetition(11, 4, v1=(5.5,0), v2=(0,160)); vsc.add(r)
r = gdstk.Reference(via_1, (-88.1,-258)); r.repetition = gdstk.Repetition(11, 4, v1=(5.5,0), v2=(0,160)); vsc.add(r)
vsc.add(gdstk.Reference(cont_g_2, (-155.9,-44.8)))
vsc.add(gdstk.Reference(cont_g_2, (-155.9,115.2)))
vsc.add(gdstk.Reference(cont_g_2, (-155.9,275.2)))
r = gdstk.Reference(via_1, (-20.7,-176.2)); r.repetition = gdstk.Repetition(3, 4, v1=(3.4,0), v2=(0,160)); vsc.add(r)
r = gdstk.Reference(via_1, (-161.9,-221.2)); r.repetition = gdstk.Repetition(1, 2, v1=(0,0), v2=(0,3.4)); vsc.add(r)
vsc.add(gdstk.Label('VCLK', (-131.9,339.3), layer=48, texttype=0))
vsc.add(gdstk.Label('P_TX', (-137.9,339.3), layer=48, texttype=0))
vsc.add(gdstk.Label('P_RES', (-143.9,339.3), layer=48, texttype=0))
vsc.add(gdstk.Label('P_SEL', (-149.9,339.3), layer=48, texttype=0))
vsc.add(gdstk.Label('RES', (-155.9,339.3), layer=48, texttype=0))
vsc.add(gdstk.Label('VD', (-161.9,339.3), layer=48, texttype=0))
vsc.add(gdstk.Label('VDD', (-17.3,-255.9), layer=48, texttype=0))
vsc.add(gdstk.Label('VSS', (-5.1,-255.9), layer=48, texttype=0))
vsc.add(gdstk.Label('P_TX_0', (-0.2,-170.8), layer=49, texttype=0))
vsc.add(gdstk.Label('P_SEL_0', (-0.2,-181.5), layer=49, texttype=0))
vsc.add(gdstk.Label('P_RES_0', (-0.2,-165.3), layer=49, texttype=0))
vsc.add(gdstk.Label('P_TX_1', (-0.2,-10.8), layer=49, texttype=0))
vsc.add(gdstk.Label('P_SEL_1', (-0.2,-21.4), layer=49, texttype=0))
vsc.add(gdstk.Label('P_RES_1', (-0.2,-5.4), layer=49, texttype=0))
vsc.add(gdstk.Label('P_TX_2', (-0.2,149.2), layer=49, texttype=0))
vsc.add(gdstk.Label('P_SEL_2', (-0.2,138.6), layer=49, texttype=0))
vsc.add(gdstk.Label('P_RES_2', (-0.2,154.6), layer=49, texttype=0))
vsc.add(gdstk.Label('P_TX_3', (-0.2,309.2), layer=49, texttype=0))
vsc.add(gdstk.Label('P_SEL_3', (-0.2,298.6), layer=49, texttype=0))
vsc.add(gdstk.Label('P_RES_3', (-0.2,314.6), layer=49, texttype=0))

lib.write_gds('vsc.gds')
